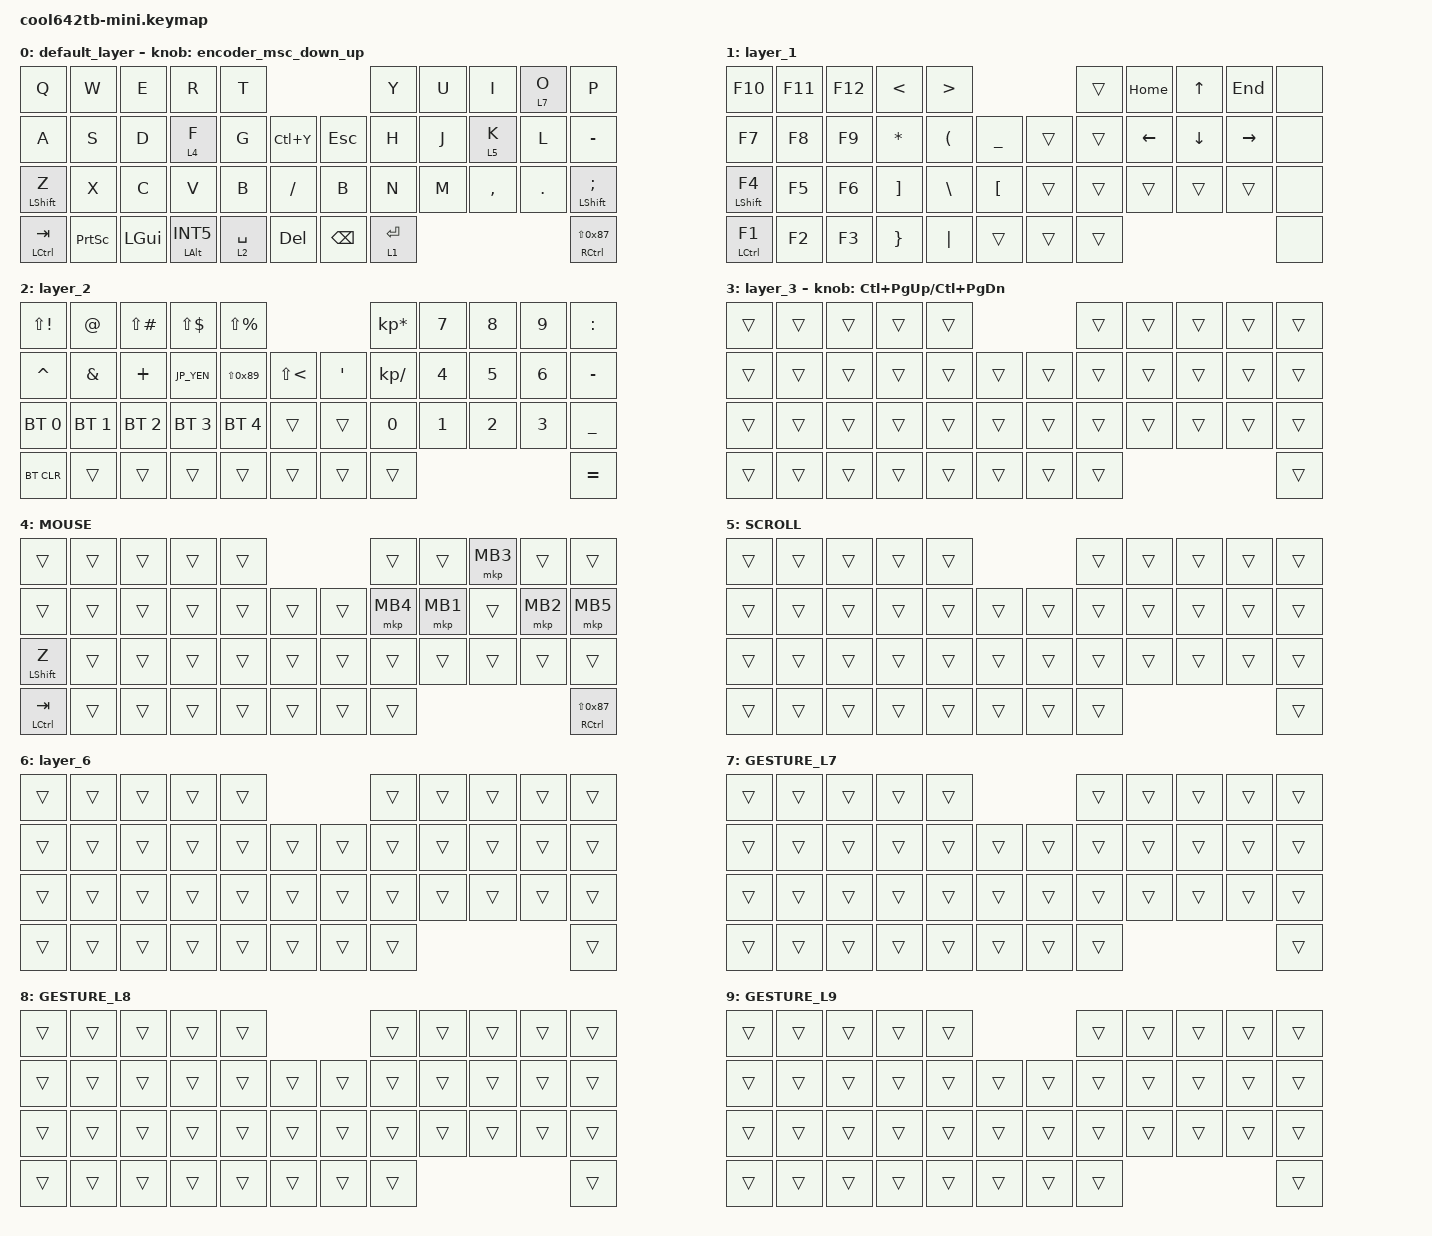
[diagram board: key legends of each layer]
#include <behaviors.dtsi>
#include <dt-bindings/zmk/bt.h>
#include <dt-bindings/zmk/keys.h>
#include <dt-bindings/zmk/pointing.h>
#include <input/processors.dtsi>
#include <mouse-gesture.dtsi>

#define MOUSE 4
#define SCROLL 5
#define ZMK_POINTING_DEFAULT_SCRL_VAL 80

// OS設定を日本語キーボードのまま使用するための変換定義

#define JP_DQUOTE       AT                // "
#define JP_AMPERSAND    CARET             // &
#define JP_QUOTE        AMPERSAND         // '
#define JP_EQUAL        UNDER             // =
#define JP_CARET        EQUAL             // ^
#define JP_YEN          0x89              // ¥
#define JP_PLUS         COLON             // +
#define JP_TILDE        PLUS              // ~
#define JP_PIPE         LS(0x89)          // |
#define JP_AT           LEFT_BRACKET      // @
#define JP_COLON        SINGLE_QUOTE      // :
#define JP_ASTERISK     DOUBLE_QUOTES     // *
#define JP_BACKQUOTE    LEFT_BRACE        // `
#define JP_UNDERSCORE   LS(0x87)          // _
#define JP_LBRACKET     RIGHT_BRACKET     // [
#define JP_RBRACKET     BACKSLASH         // ]
#define JP_LPAREN       ASTERISK          // (
#define JP_RPAREN       LEFT_PARENTHESIS  // )
#define JP_LBRACE       RIGHT_BRACE       // {
#define JP_RBRACE       PIPE              // }
#define JP_KANA         LANGUAGE_1        // かな
#define JP_EISU         LANGUAGE_2        // 英数
#define JP_HANZEN       GRAVE             // 半角/全角
#define JP_MHEN         INT5              // Muhenkan (無変換)
#define JP_HENK         INT4              // Henkan (変換)

&mt {
    flavor = "balanced";
    quick-tap-ms = <0>;
};

// AML時間延長とレイヤー移動が重なるとAMLから離脱できなくなるバグが発生しやすいため削除
// &mkp_input_listener {
//     input-processors = <&zip_temp_layer 5 10000>;
// };

&zip_mouse_gesture {
    enable-eager-mode;
    stroke-size = <50>;
    movement-threshold = <6>;
    idle-timeout-ms = <100>;
    gesture-cooldown-ms = <120>;
    prev_tab {
        pattern = <GESTURE_LEFT>;
        bindings = <&kp LC(LS(TAB))>;
        };
    next_tab {
        pattern = <GESTURE_RIGHT>;
        bindings = <&kp LC(TAB)>;
        };
    create_tab {
        pattern = <GESTURE_UP>;
        bindings = <&kp LC(T)>;
        };
    close_tab {
        pattern = <GESTURE_DOWN>;
        bindings = <&kp LC(W)>;
        };
};

/ {
    combos {
        compatible = "zmk,combos";

        shift_tab {
            bindings = <&kp LANG2>;
            key-positions = <12 13>;
        };

        lang {
            bindings = <&kp LANG1>;
            key-positions = <18 19>;
        };

        test {
            bindings = <&none>;
            key-positions = <34 20 22 7>;
        };
    };

    macros {
        exit_AML: exit_AML {
            compatible = "zmk,behavior-macro";
            wait-ms = <0>;
            tap-ms = <0>;
            #binding-cells = <0>;
            bindings = <&tog_off MOUSE>;
            label = "exit_AML";
        };

        kp_exit_AML: kp_exit_AML {
            compatible = "zmk,behavior-macro-one-param";
            wait-ms = <0>;
            tap-ms = <0>;
            #binding-cells = <1>;
            bindings = <&macro_param_1to1 &kp MACRO_PLACEHOLDER &exit_AML>;
            label = "KP_exit_AML";
        };
    };

    behaviors {
        tog_off: toggle_layer_off {
            compatible = "zmk,behavior-toggle-layer";
            #binding-cells = <1>;
            display-name = "Toggle Layer Off";
            toggle-mode = "off";
        };

        mt_exit_AML_on_tap: mt_exit_AML_on_tap {
            compatible = "zmk,behavior-hold-tap";
            label = "MT_exit_AML_ON_TAP";
            bindings = <&kp>, <&kp_exit_AML>;

            #binding-cells = <2>;
            tapping-term-ms = <200>;
            flavor = "balanced";
            quick-tap-ms = <200>;
        };

        encoder_msc_down_up: encoder_msc_down_up {
            compatible = "zmk,behavior-sensor-rotate";
            label = "ENCODER_MSC_DOWN_UP";
            #sensor-binding-cells = <0>;
            bindings = <&msc SCRL_UP>, <&msc SCRL_DOWN>;

            tap-ms = <20>;
        };
    };

    keymap {
        compatible = "zmk,keymap";

        default_layer {
            bindings = <
&kp Q                 &kp W      &kp E         &kp R                 &kp T                                       &kp Y        &kp U  &kp I      &lt 7 O    &kp P
&kp A                 &kp S      &kp D         &lt 4 F               &kp G        &kp LC(Y)       &kp ESC        &kp H        &kp J  &lt 5 K    &kp L      &kp MINUS
&mt LEFT_SHIFT Z      &kp X      &kp C         &kp V                 &kp B        &kp SLASH       &kp B          &kp N        &kp M  &kp COMMA  &kp DOT    &mt LEFT_SHIFT SEMICOLON
&mt LEFT_CONTROL TAB  &kp PSCRN  &kp LEFT_GUI  &mt LEFT_ALT JP_MHEN  &lt 2 SPACE  &kp DELETE      &kp BACKSPACE  &lt 1 ENTER                               &mt RIGHT_CONTROL JP_UNDERSCORE
            >;

            sensor-bindings = <&encoder_msc_down_up>;
        };

        layer_1 {
            bindings = <
&kp F10              &kp F11  &kp F12  &kp LESS_THAN    &kp GREATER_THAN                         &trans  &kp HOME  &kp UP_ARROW  &kp END          &none
&kp F7               &kp F8   &kp F9   &kp JP_LPAREN    &kp JP_RPAREN     &kp UNDER      &trans  &trans  &kp LEFT  &kp DOWN      &kp RIGHT_ARROW  &none
&mt LEFT_SHIFT F4    &kp F5   &kp F6   &kp JP_LBRACKET  &kp JP_RBRACKET   &kp JP_AT      &trans  &trans  &trans    &trans        &trans           &none
&mt LEFT_CONTROL F1  &kp F2   &kp F3   &kp JP_LBRACE    &kp JP_RBRACE     &trans         &trans  &trans                                           &none
            >;
        };

        layer_2 {
            bindings = <
&kp LS(EXCL)      &kp JP_DQUOTE  &kp LS(POUND)  &kp LS(DLLR)  &kp LS(PRCNT)                                &kp KP_ASTERISK  &kp NUMBER_7  &kp NUMBER_8  &kp NUMBER_9  &kp JP_PLUS
&kp JP_AMPERSAND  &kp JP_QUOTE   &kp JP_TILDE   &kp JP_YEN    &kp JP_PIPE    &kp LS(LT)      &kp JP_COLON  &kp KP_DIVIDE    &kp NUMBER_4  &kp NUMBER_5  &kp NUMBER_6  &kp MINUS
&bt BT_SEL 0      &bt BT_SEL 1   &bt BT_SEL 2   &bt BT_SEL 3  &bt BT_SEL 4   &trans          &trans        &kp NUMBER_0     &kp NUMBER_1  &kp NUMBER_2  &kp NUMBER_3  &kp JP_EQUAL
&bt BT_CLR        &trans         &trans         &trans        &trans         &trans          &trans        &trans                                                     &kp JP_CARET
            >;
        };

        layer_3 {
            bindings = <
&trans  &trans  &trans  &trans  &trans                      &trans  &trans  &trans  &trans  &trans
&trans  &trans  &trans  &trans  &trans  &trans      &trans  &trans  &trans  &trans  &trans  &trans
&trans  &trans  &trans  &trans  &trans  &trans      &trans  &trans  &trans  &trans  &trans  &trans
&trans  &trans  &trans  &trans  &trans  &trans      &trans  &trans                          &trans
            >;

            sensor-bindings = <&inc_dec_kp LC(PAGE_UP) LC(PAGE_DOWN)>;
        };

        MOUSE {
            bindings = <
&trans                                    &trans  &trans  &trans  &trans                      &trans    &trans    &mkp MB3  &trans    &trans
&trans                                    &trans  &trans  &trans  &trans  &trans      &trans  &mkp MB4  &mkp MB1  &trans    &mkp MB2  &mkp MB5
&mt_exit_AML_on_tap LEFT_SHIFT Z          &trans  &trans  &trans  &trans  &trans      &trans  &trans    &trans    &trans    &trans    &trans
&mt_exit_AML_on_tap LEFT_CONTROL TAB      &trans  &trans  &trans  &trans  &trans      &trans  &trans                                  &mt_exit_AML_on_tap RIGHT_CONTROL JP_UNDERSCORE
            >;
        };

        SCROLL {
            bindings = <
&trans  &trans  &trans  &trans  &trans                      &trans  &trans  &trans  &trans  &trans
&trans  &trans  &trans  &trans  &trans  &trans      &trans  &trans  &trans  &trans  &trans  &trans
&trans  &trans  &trans  &trans  &trans  &trans      &trans  &trans  &trans  &trans  &trans  &trans
&trans  &trans  &trans  &trans  &trans  &trans      &trans  &trans                          &trans
            >;
        };

        layer_6 {
            bindings = <
&trans  &trans  &trans  &trans  &trans                      &trans  &trans  &trans  &trans  &trans
&trans  &trans  &trans  &trans  &trans  &trans      &trans  &trans  &trans  &trans  &trans  &trans
&trans  &trans  &trans  &trans  &trans  &trans      &trans  &trans  &trans  &trans  &trans  &trans
&trans  &trans  &trans  &trans  &trans  &trans      &trans  &trans                          &trans
            >;
        };

        GESTURE_L7 {
            bindings = <
&trans  &trans  &trans  &trans  &trans                      &trans  &trans  &trans  &trans  &trans
&trans  &trans  &trans  &trans  &trans  &trans      &trans  &trans  &trans  &trans  &trans  &trans
&trans  &trans  &trans  &trans  &trans  &trans      &trans  &trans  &trans  &trans  &trans  &trans
&trans  &trans  &trans  &trans  &trans  &trans      &trans  &trans                          &trans
            >;
        };

        GESTURE_L8 {
            bindings = <
&trans  &trans  &trans  &trans  &trans                      &trans  &trans  &trans  &trans  &trans
&trans  &trans  &trans  &trans  &trans  &trans      &trans  &trans  &trans  &trans  &trans  &trans
&trans  &trans  &trans  &trans  &trans  &trans      &trans  &trans  &trans  &trans  &trans  &trans
&trans  &trans  &trans  &trans  &trans  &trans      &trans  &trans                          &trans
            >;
        };

        GESTURE_L9 {
            bindings = <
&trans  &trans  &trans  &trans  &trans                      &trans  &trans  &trans  &trans  &trans
&trans  &trans  &trans  &trans  &trans  &trans      &trans  &trans  &trans  &trans  &trans  &trans
&trans  &trans  &trans  &trans  &trans  &trans      &trans  &trans  &trans  &trans  &trans  &trans
&trans  &trans  &trans  &trans  &trans  &trans      &trans  &trans                          &trans
            >;
        };
    };
};
